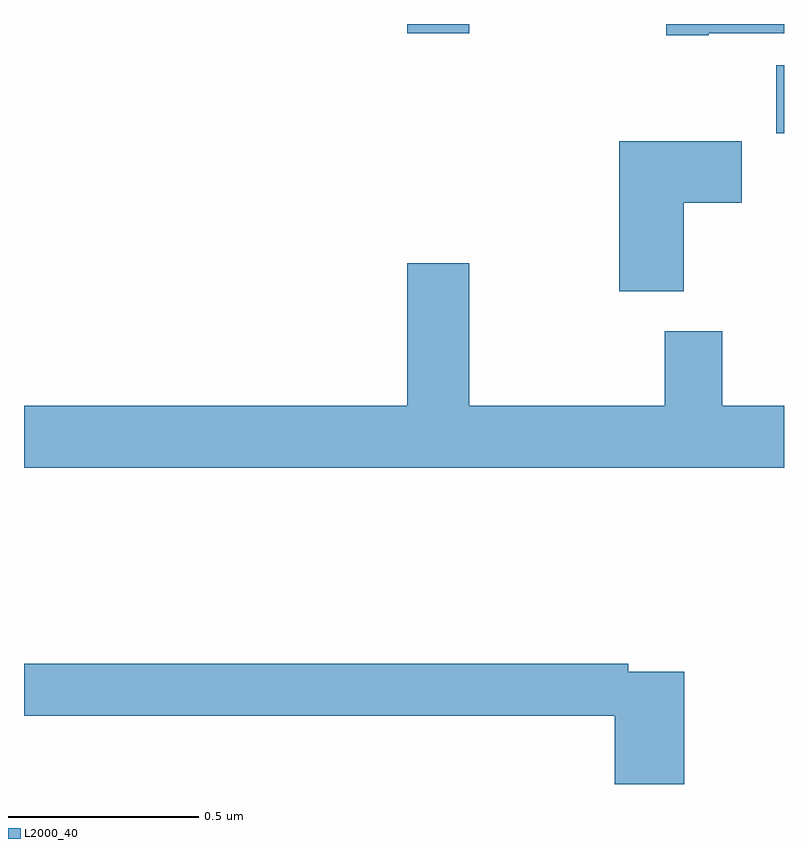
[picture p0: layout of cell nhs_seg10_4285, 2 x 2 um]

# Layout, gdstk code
import gdstk
lib = gdstk.Library(unit=1e-6, precision=1e-09)
def R(c, l, rs):  # rectangles x0, y0, x1, y1
    for r in rs: c.add(gdstk.rectangle(r[:2], r[2:], *l))
def P(c, l, *ps):  # polygons
    for p in ps: c.add(gdstk.Polygon(p, *l))
L2000_40 = (2000, 40)

nhs_seg10_4285 = lib.new_cell('nhs_seg10_4285')
R(nhs_seg10_4285, L2000_40, [(165.98,1285.212,166,1285.391), (165.008,1285.476,165.172,1285.5)])
P(nhs_seg10_4285, L2000_40, [(165.802,1285.476),(166,1285.476),(166,1285.5),(165.69,1285.5),(165.69,1285.471),(165.802,1285.471)],
  [(165.736,1285.03),(165.889,1285.03),(165.889,1285.192),(165.566,1285.192),(165.566,1284.797),(165.736,1284.797)],
  [(166,1284.496),(165.838,1284.496),(165.838,1284.691),(165.686,1284.691),(165.686,1284.496),(165.172,1284.496),(165.172,1284.871),(165.008,1284.871),(165.008,1284.496),(164,1284.496),(164,1284.332),(166,1284.332)],
  [(165.737,1283.796),(165.59,1283.796),(165.59,1283.816),(164,1283.816),(164,1283.68),(165.554,1283.68),(165.554,1283.5),(165.737,1283.5)])

lib.write_gds('nhs_seg10_4285.gds')
